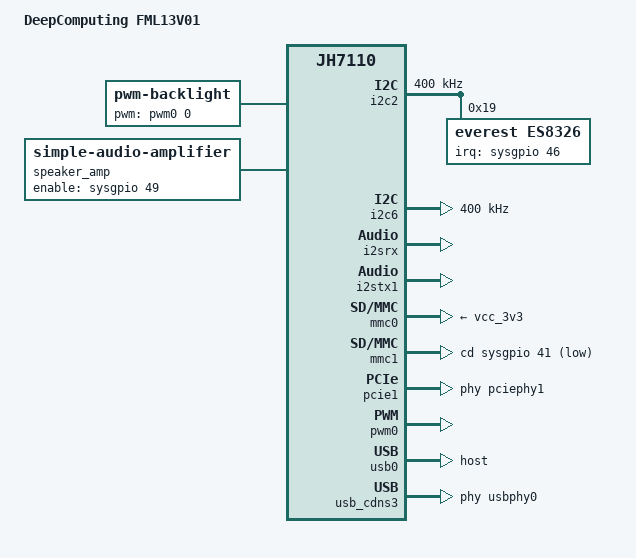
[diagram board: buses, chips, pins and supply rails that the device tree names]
// SPDX-License-Identifier: GPL-2.0 OR MIT
/*
 * Copyright (C) 2024 DeepComputing (HK) Limited
 */

/dts-v1/;
#include "jh7110-common.dtsi"
#include <dt-bindings/pwm/pwm.h>
#include <dt-bindings/interrupt-controller/irq.h>

/ {
	model = "DeepComputing FML13V01";
	compatible = "deepcomputing,fml13v01", "starfive,jh7110";

	backlight {
		compatible = "pwm-backlight";
		pwms = <&pwm0 0 5000000 PWM_POLARITY_INVERTED>;

		brightness-levels = <0 255>;
		default-brightness-level = <127>;
		num-interpolated-steps = <255>;
	};

	sound-es8326 {
		compatible = "simple-audio-card";
		simple-audio-card,aux-devs = <&speaker_amp>;
		simple-audio-card,name = "FML13V01-ES8326-Sound-Card";
		simple-audio-card,format = "i2s";
		simple-audio-card,bitclock-master = <&dailink0_master>;
		simple-audio-card,frame-master = <&dailink0_master>;
		simple-audio-card,mclk-fs = <256>;
		simple-audio-card,widgets =
			"Microphone", "Builtin Microphone",
			"Microphone", "Headset Microphone",
			"Headphone", "Headphones",
			"Speaker", "Builtin Speaker";
		simple-audio-card,routing =
			"MIC1", "Headset Microphone",
			"MIC2", "Builtin Microphone",
			"Headphones", "HPOL",
			"Headphones", "HPOR",
			"Builtin Speaker", "Speaker Amp OUTR",
			"Builtin Speaker", "Speaker Amp OUTL",
			"Speaker Amp INR", "HPOR",
			"Speaker Amp INL", "HPOL";

		simple-audio-card,cpu0 {
			sound-dai = <&i2stx1>;
		};

		simple-audio-card,cpu1 {
			sound-dai = <&i2srx>;
		};

		dailink0_master: simple-audio-card,codec {
			sound-dai = <&es8326>;
		};
	};

	speaker_amp: speaker-amp {
		compatible = "simple-audio-amplifier";
		// pinctrl-0 = <&spkamp_pins>;
		// pinctrl-names = "default";
		sound-name-prefix = "Speaker Amp";
		enable-gpios = <&sysgpio 49 GPIO_ACTIVE_HIGH>;
	};
};

&i2c2 {
	clock-frequency = <400000>;
	pinctrl-0 = <&i2c2_pins>;
	pinctrl-names = "default";

	es8326: audio-codec@19 {
		compatible = "everest,es8326";
		reg = <0x19>;
		interrupts-extended = <&sysgpio 46 IRQ_TYPE_EDGE_RISING>;
		pinctrl-0 = <&es8326_pins>;
		pinctrl-names = "default";
		#sound-dai-cells = <0>;
		// everest,jack-detect-inverted;
		everest,jack-pol = [0e];
		everest,mic1-src = [00];
		everest,mic2-src = [44];
		everest,interrupt-src = [08];
		everest,interrupt-clk = [45];
	};
};

&i2c6 {
	clock-frequency = <400000>;
	pinctrl-names = "default";
	pinctrl-0 = <&i2c6_pins>;
	status = "okay";

	touchpad: hid@2c {
		compatible = "hid-over-i2c";
		reg = <0x2c>;
		hid-descr-addr = <0x0020>;
		interrupts-extended = <&sysgpio 30 IRQ_TYPE_LEVEL_LOW>;
		pinctrl-0 = <&i2c_hid_pins>;
		pinctrl-names = "default";
	};
};

&i2srx {
	pinctrl-names = "default";
	pinctrl-0 = <&i2srx_pins>;
	status = "okay";
};

&i2stx1 {
	pinctrl-names = "default";
	pinctrl-0 = <&i2stx1_pins>;
	status = "okay";
};

&mmc0 {
	cap-mmc-highspeed;
	cap-mmc-hw-reset;
	mmc-ddr-1_8v;
	mmc-hs200-1_8v;
	vmmc-supply = <&vcc_3v3>;
	vqmmc-supply = <&emmc_vdd>;
};

&mmc0_pins {
	 rst-pins {
		pinmux = <GPIOMUX(62, GPOUT_SYS_SDIO0_RST,
				      GPOEN_ENABLE,
				      GPI_NONE)>;
		bias-pull-up;
		drive-strength = <12>;
		input-disable;
		input-schmitt-disable;
		slew-rate = <0>;
	};
};

&mmc1 {
	cd-gpios = <&sysgpio 41 GPIO_ACTIVE_LOW>;
	disable-wp;
};

&pcie1 {
	perst-gpios = <&sysgpio 21 GPIO_ACTIVE_LOW>;
	phys = <&pciephy1>;
	pinctrl-names = "default";
	pinctrl-0 = <&pcie1_pins>;
	status = "okay";
};

&pwm0 {
	status = "okay";
};

&pwm0_pins {
	pwm0-pins {
		pinmux = <GPIOMUX(22, GPOUT_SYS_PWM_CHANNEL0,
				      GPOEN_SYS_PWM0_CHANNEL0,
				      GPI_NONE)>;
		bias-disable;
		drive-strength = <12>;
		input-disable;
		input-schmitt-disable;
		slew-rate = <0>;
	};
};

&pwmdac_codec {
	status = "disabled";
};

&{/sound} {
	status = "disabled";
};

&sysgpio {
	es8326_pins: es8326-0 {
		irq-pins {
			pinmux = <GPIOMUX(46, GPOUT_LOW,
					      GPOEN_DISABLE,
					      GPI_NONE)>;
			input-enable;
		};
	};

	i2c_hid_pins: i2c-hid-0 {
		irq-pins {
			pinmux = <GPIOMUX(30, GPOUT_LOW,
					      GPOEN_DISABLE,
					      GPI_NONE)>;
			input-enable;
		};
	};

	i2srx_pins: i2srx-0 {
		clk-sd-pins {
			pinmux = <GPIOMUX(38, GPOUT_LOW,
					      GPOEN_DISABLE,
					      GPI_SYS_I2SRX_BCLK)>,
				 <GPIOMUX(63, GPOUT_LOW,
					      GPOEN_DISABLE,
					      GPI_SYS_I2SRX_LRCK)>,
				 <GPIOMUX(38, GPOUT_LOW,
					      GPOEN_DISABLE,
					      GPI_SYS_I2STX1_BCLK)>,
				 <GPIOMUX(63, GPOUT_LOW,
					      GPOEN_DISABLE,
					      GPI_SYS_I2STX1_LRCK)>,
				 <GPIOMUX(44, GPOUT_LOW,
					      GPOEN_DISABLE,
					      GPI_SYS_I2SRX_SDIN0)>;
			input-enable;
		};
	};

	i2stx1_pins: i2stx1-0 {
		sd-pins {
			pinmux = <GPIOMUX(61, GPOUT_SYS_I2STX1_SDO0,
					      GPOEN_ENABLE,
					      GPI_NONE)>;
			bias-disable;
			input-disable;
		};
	};

	pcie1_pins: pcie1-0 {
		clkreq-pins {
			pinmux = <GPIOMUX(29, GPOUT_LOW,
					      GPOEN_DISABLE,
					      GPI_NONE)>;
			bias-pull-down;
			drive-strength = <2>;
			input-enable;
			input-schmitt-disable;
			slew-rate = <0>;
		};

		wake-pins {
			pinmux = <GPIOMUX(28, GPOUT_HIGH,
					      GPOEN_DISABLE,
					      GPI_NONE)>;
			bias-pull-up;
			drive-strength = <2>;
			input-enable;
			input-schmitt-disable;
			slew-rate = <0>;
		};
	};

	// spkamp_pins: spkamp-0 {
	// 	enable-pins {
	// 		pinmux = <GPIOMUX(49, GPOUT_HIGH,
	// 				      GPOEN_ENABLE,
	// 				      GPI_NONE)>;
	// 		bias-disable;
	// 		input-disable;
	// 		input-schmitt-disable;
	// 		slew-rate = <0>;
	// 	};
	// };

	usb0_pins: usb0-0 {
		vbus-pins {
			pinmux = <GPIOMUX(25,  GPOUT_SYS_USB_DRIVE_VBUS,
					       GPOEN_ENABLE,
					       GPI_NONE)>;
			bias-disable;
			input-disable;
			input-schmitt-disable;
			slew-rate = <0>;
		};
	};
};

&usb0 {
	dr_mode = "host";
	pinctrl-names = "default";
	pinctrl-0 = <&usb0_pins>;
	status = "okay";
};

&usb_cdns3 {
	phys = <&usbphy0>, <&pciephy0>;
	phy-names = "cdns3,usb2-phy", "cdns3,usb3-phy";
};
